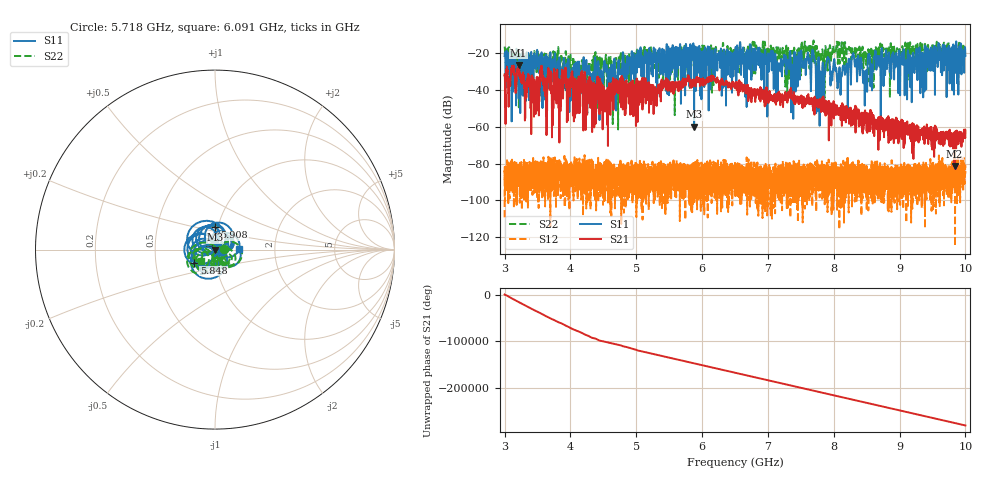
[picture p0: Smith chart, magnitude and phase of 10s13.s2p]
!Agilent Technologies,E8363B,MY43030572,A.06.04.32
!Agilent E8363B: A.06.04.32
!Date: Tuesday, June 07, 2011 09:25:55
!Correction: S11(Full 2 Port(1,2)) S21(Full 2 Port(1,2)) S12(Full 2 Port(1,2)) S22(Full 2 Port(1,2))
!S2P File: Measurements: S11, S21, S12, S22:
# Hz S  dB  R 50
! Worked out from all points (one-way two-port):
!   6401 points, 3 GHz to 10 GHz, reference 50 ohm
!   highest |S21| = -26.68 dB at 3.212 GHz (marker M1); lowest = -81.3 dB at 9.835 GHz (marker M2)
!   lowest |S11| = -60.1 dB at 5.879 GHz (marker M3), VSWR 1.00, Z = 50 - j0.0961 ohm
!   |S11| at or under -10 dB: start of sweep to end of sweep
!   |S22| runs from -61.5 to -13.4 dB; largest |S21 - S12| = 0.046
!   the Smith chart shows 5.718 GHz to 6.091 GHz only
!   S11 on the Smith chart (normalised r, x): 5.718 GHz: 1.08, -0.02; 5.848 GHz: 0.79, -0.12; 5.908 GHz: 0.97, +0.25; 6.091 GHz: 1.31, +0.01
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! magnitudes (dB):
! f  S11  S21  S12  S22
! 3 GHz  -21.8  -31.7  -109.1  -16.7
! 3.212 GHz  -36.9  -26.7  -81.1  -24.3
! 3.47 GHz  -21.7  -43.4  -82.6  -23.3
! 3.569 GHz  -23.3  -31.6  -80.6  -26.5
! 4.167 GHz  -30.4  -30.8  -91.2  -26.3
! 4.542 GHz  -29.5  -43.8  -86.4  -21.5
! 5.334 GHz  -19.6  -40.9  -87.1  -25.9
! 5.718 GHz  -28.3  -34.3  -81.3  -26.1
! 5.848 GHz  -17.3  -36.2  -86.8  -19.1
! 5.879 GHz  -60.1  -35.7  -82.1  -22.6
! 5.908 GHz  -18.0  -36.1  -91.1  -20.9
! 6.091 GHz  -17.3  -33.7  -99.8  -19.7
! 6.5 GHz  -23.2  -38.6  -79.6  -22.2
! 7.667 GHz  -20.9  -47.5  -80.4  -16.9
! 7.818 GHz  -39.2  -50.4  -84.6  -21.9
! 7.908 GHz  -22.3  -50.2  -87.2  -28.5
! 8.083 GHz  -28.6  -51.1  -86.5  -17.7
! 8.308 GHz  -22.5  -51.9  -82.2  -19.3
! 8.475 GHz  -36.1  -52.3  -88.1  -21.4
! 8.834 GHz  -20.5  -60.9  -105.9  -20.1
! 9.835 GHz  -16.9  -81.3  -83.2  -17.6
! 10 GHz  -21.7  -65.7  -85.3  -20.6
